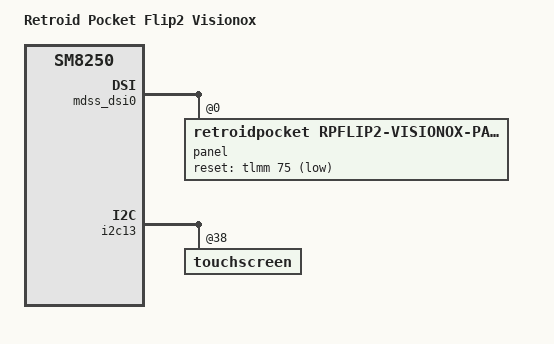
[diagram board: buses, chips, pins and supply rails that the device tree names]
// SPDX-License-Identifier: GPL-2.0
/*
 * Copyright (c) 2026, Armada <https://armadaos.dev>.
 */

/dts-v1/;

#include "sm8250-retroidpocket-flip2.dts"

/ {
	model = "Retroid Pocket Flip2 Visionox";
};

&mdss_dsi0 {
	panel@0 {
		compatible = "retroidpocket,rpflip2-visionox-panel";
		reset-gpios = <&tlmm 75 GPIO_ACTIVE_LOW>;
	};
};

&i2c13 {
	touchscreen@38 {
		/delete-property/ touchscreen-inverted-x;
	};
};

&vdda_panel {
	/delete-property/ regulator-boot-on;
};
